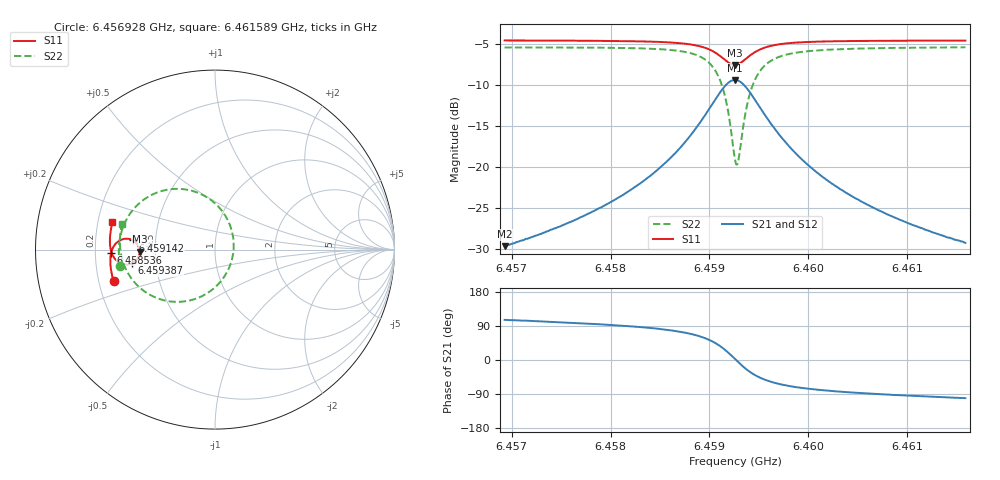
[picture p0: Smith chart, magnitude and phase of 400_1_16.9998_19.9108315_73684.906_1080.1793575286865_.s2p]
#  HZ  S  RI  R  50.00
! Rohde & Schwarz Vector Network Analyzer
! Rohde-Schwarz,ZNB20-2Port,1311601062101988,3.16
! Created: UTC 3/20/2024, 11:10:00 PM
! freq[Hz]  re:S11  im:S11  re:S21  im:S21  re:S12  im:S12  re:S22  im:S22
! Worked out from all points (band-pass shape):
!   401 points, 6.456928 GHz to 6.461589 GHz, reference 50 ohm
!   highest |S21| = -9.36 dB at 6.459259 GHz (marker M1); lowest = -29.6 dB at 6.456928 GHz (marker M2)
!   |S21| within 3 dB of the highest: 6.459026 GHz to 6.459492 GHz (465.8 kHz wide, 0.00721 % of centre)
!   lowest |S11| = -7.5 dB at 6.459259 GHz (marker M3), VSWR 2.45, Z = 20.4 - j0.554 ohm
!   |S11| at or under -10 dB: nowhere
!   |S22| runs from -19.7 to -5.4 dB; largest |S21 - S12| = 0.013
!   S11 on the Smith chart (normalised r, x): 6.456928 GHz: 0.26, -0.14; 6.458536 GHz: 0.27, -0.01; 6.459142 GHz: 0.37, +0.05; 6.459387 GHz: 0.37, -0.07; 6.461589 GHz: 0.26, +0.12
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6.4569282e9  -0.5655 -0.176  -0.00908 0.0318  -0.00738 0.0319  -0.5295 -0.089
6.4577089e9  -0.5801 -0.108  -0.00581 0.0496  -0.00343 0.049  -0.5359 0.00113
6.4581285e9  -0.5833 -0.0664  -0.000476 0.068  0.00276 0.0668  -0.5289 0.0663
6.4584897e9  -0.5799 -0.0237  0.0134 0.0974  0.0173 0.0946  -0.504 0.1457
6.4585363e9  -0.5785 -0.0173  0.0168 0.1026  0.0208 0.0997  -0.4979 0.1588
6.4587461e9  -0.5665 0.0144  0.0424 0.1341  0.0464 0.1294  -0.4498 0.2301
6.4588976e9  -0.5455 0.0408  0.0844 0.1641  0.0876 0.1576  -0.3728 0.294
6.459049e9  -0.5 0.0605  0.1749 0.1833  0.1758 0.176  -0.2074 0.3384
6.4591423e9  -0.456 0.0507  0.2636 0.1528  0.2637 0.1471  -0.043 0.2902
6.4591889e9  -0.4351 0.0322  0.307 0.1109  0.3081 0.1058  0.039 0.2156
6.4592588e9  -0.4203 -0.0112  0.3401 0.0156  0.3437 0.00888  0.1041 0.039
6.4592821e9  -0.4221 -0.0269  0.3383 -0.0194  0.342 -0.0275  0.1004 -0.0269
6.4592938e9  -0.4241 -0.0344  0.3347 -0.0363  0.3384 -0.0451  0.0935 -0.059
6.4593404e9  -0.4394 -0.0602  0.3068 -0.0954  0.3089 -0.107  0.0376 -0.1706
6.459387e9  -0.4612 -0.0762  0.2656 -0.1362  0.2647 -0.1488  -0.0458 -0.2448
6.4594802e9  -0.5039 -0.0829  0.1821 -0.1672  0.1761 -0.1784  -0.2118 -0.2911
6.4596317e9  -0.5472 -0.0624  0.0953 -0.154  0.0872 -0.1601  -0.3771 -0.2432
6.4597948e9  -0.5686 -0.0349  0.051 -0.1267  0.0437 -0.1294  -0.4567 -0.1725
6.4600395e9  -0.5812 0.000657  0.0223 -0.0957  0.0166 -0.0962  -0.5043 -0.0913
6.4603891e9  -0.5856 0.0419  0.00631 -0.0693  0.00246 -0.0689  -0.5258 -0.0129
6.4608203e9  -0.5835 0.085  -0.00138 -0.051  -0.00413 -0.0503  -0.53 0.0551
6.4615894e9  -0.5712 0.1528  -0.00639 -0.0341  -0.00807 -0.0331  -0.5186 0.1447
